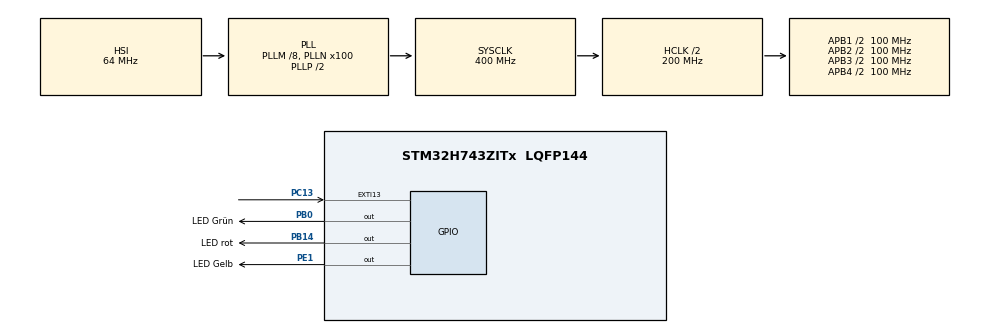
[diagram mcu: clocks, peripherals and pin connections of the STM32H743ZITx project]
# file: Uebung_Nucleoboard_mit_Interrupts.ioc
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Mcu.Family=STM32H7
Mcu.Name=STM32H743ZITx
Mcu.Package=LQFP144
NVIC.EXTI15_10_IRQn=true\:0\:0\:false\:false\:true\:true\:true
NVIC.PriorityGroup=NVIC_PRIORITYGROUP_4
PB0.GPIO_Label=LED Gr\u00FCn
PB0.Signal=GPIO_Output
PB14.GPIO_Label=LED rot
PB14.Signal=GPIO_Output
PC13.GPIO_ModeDefaultEXTI=GPIO_MODE_IT_RISING_FALLING
PC13.Signal=GPXTI13
PE1.GPIO_Label=LED Gelb
PE1.Signal=GPIO_Output
ProjectManager.HeapSize=0x200
ProjectManager.StackSize=0x400
ProjectManager.TargetToolchain=MDK-ARM V5.27
RCC.ADCFreq_Value=129000000
RCC.APB1Freq_Value=100000000
RCC.APB2Freq_Value=100000000
RCC.APB3Freq_Value=100000000
RCC.APB4Freq_Value=100000000
RCC.CortexFreq_Value=400000000
RCC.D1PPRE=RCC_APB3_DIV2
RCC.D2PPRE1=RCC_APB1_DIV2
RCC.D2PPRE2=RCC_APB2_DIV2
RCC.D3PPRE=RCC_APB4_DIV2
RCC.DIVM1=8
RCC.DIVN1=100
RCC.HCLKFreq_Value=200000000
RCC.HPRE=RCC_HCLK_DIV2
RCC.SYSCLKFreq_VALUE=400000000
RCC.SYSCLKSource=RCC_SYSCLKSOURCE_PLLCLK
RCC.USBFreq_Value=400000000
board=custom

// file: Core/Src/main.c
/* USER CODE BEGIN Header */
/**
  ******************************************************************************
  * @file           : main.c
  * @brief          : Main program body
  ******************************************************************************
  * @attention
  *
  * <h2><center>&copy; Copyright (c) 2021 STMicroelectronics.
  * All rights reserved.</center></h2>
  *
  * This software component is licensed by ST under BSD 3-Clause license,
  * the "License"; You may not use this file except in compliance with the
  * License. You may obtain a copy of the License at:
  *                        opensource.org/licenses/BSD-3-Clause
  *
  ******************************************************************************
  */
/* USER CODE END Header */
#include "main.h"
#include "gpio.h"

/* USER CODE BEGIN PV */
uint8_t buttonpressed = 0;
uint8_t toggler = 0;
uint16_t counter =0;
/* USER CODE END PV */

void SystemClock_Config(void);

int main(void)
{

  /* MCU Configuration--------------------------------------------------------*/

  /* Reset of all peripherals, Initializes the Flash interface and the Systick. */
  HAL_Init();

  /* Configure the system clock */
  SystemClock_Config();

  /* Initialize all configured peripherals */
  MX_GPIO_Init();

  /* Infinite loop */
  /* USER CODE BEGIN WHILE */
  while (1)
  {
		//Gelbe LED
		if(buttonpressed)
		{
				HAL_GPIO_WritePin(GPIOB, LED_Gelb_Pin, GPIO_PIN_SET);
		}
		else
		{
			HAL_GPIO_WritePin(GPIOB, LED_Gelb_Pin, GPIO_PIN_RESET);
		}

		//Rote LED
		if(toggler)
		{
			HAL_GPIO_WritePin(LED_rot_GPIO_Port, LED_rot_Pin, GPIO_PIN_SET); // ein #define überschreibt in main.h die Standarsbezeichner GPIOB und GPIO_PIN_14
		}
		else
		{
			HAL_GPIO_WritePin(LED_rot_GPIO_Port, LED_rot_Pin, GPIO_PIN_RESET);
		}

		/* USER CODE END WHILE */
  }
}

void SystemClock_Config(void)
{
  RCC_OscInitTypeDef RCC_OscInitStruct = {0};
  RCC_ClkInitTypeDef RCC_ClkInitStruct = {0};

  /** Supply configuration update enable
  */
  HAL_PWREx_ConfigSupply(PWR_LDO_SUPPLY);
  /** Configure the main internal regulator output voltage
  */
  __HAL_PWR_VOLTAGESCALING_CONFIG(PWR_REGULATOR_VOLTAGE_SCALE1);

  while(!__HAL_PWR_GET_FLAG(PWR_FLAG_VOSRDY)) {}
  /** Initializes the RCC Oscillators according to the specified parameters
  * in the RCC_OscInitTypeDef structure.
  */
  RCC_OscInitStruct.OscillatorType = RCC_OSCILLATORTYPE_HSI;
  RCC_OscInitStruct.HSIState = RCC_HSI_DIV1;
  RCC_OscInitStruct.HSICalibrationValue = RCC_HSICALIBRATION_DEFAULT;
  RCC_OscInitStruct.PLL.PLLState = RCC_PLL_ON;
  RCC_OscInitStruct.PLL.PLLSource = RCC_PLLSOURCE_HSI;
  RCC_OscInitStruct.PLL.PLLM = 8;
  RCC_OscInitStruct.PLL.PLLN = 100;
  RCC_OscInitStruct.PLL.PLLP = 2;
  RCC_OscInitStruct.PLL.PLLQ = 2;
  RCC_OscInitStruct.PLL.PLLR = 2;
  RCC_OscInitStruct.PLL.PLLRGE = RCC_PLL1VCIRANGE_3;
  RCC_OscInitStruct.PLL.PLLVCOSEL = RCC_PLL1VCOWIDE;
  RCC_OscInitStruct.PLL.PLLFRACN = 0;
  if (HAL_RCC_OscConfig(&RCC_OscInitStruct) != HAL_OK)
  {
    Error_Handler();
  }
  /** Initializes the CPU, AHB and APB buses clocks
  */
  RCC_ClkInitStruct.ClockType = RCC_CLOCKTYPE_HCLK|RCC_CLOCKTYPE_SYSCLK
                              |RCC_CLOCKTYPE_PCLK1|RCC_CLOCKTYPE_PCLK2
                              |RCC_CLOCKTYPE_D3PCLK1|RCC_CLOCKTYPE_D1PCLK1;
  RCC_ClkInitStruct.SYSCLKSource = RCC_SYSCLKSOURCE_PLLCLK;
  RCC_ClkInitStruct.SYSCLKDivider = RCC_SYSCLK_DIV1;
  RCC_ClkInitStruct.AHBCLKDivider = RCC_HCLK_DIV2;
  RCC_ClkInitStruct.APB3CLKDivider = RCC_APB3_DIV2;
  RCC_ClkInitStruct.APB1CLKDivider = RCC_APB1_DIV2;
  RCC_ClkInitStruct.APB2CLKDivider = RCC_APB2_DIV2;
  RCC_ClkInitStruct.APB4CLKDivider = RCC_APB4_DIV2;

  if (HAL_RCC_ClockConfig(&RCC_ClkInitStruct, FLASH_LATENCY_2) != HAL_OK)
  {
    Error_Handler();
  }
}

/* USER CODE BEGIN 4 */
void HAL_GPIO_EXTI_Callback(uint16_t GPIO_Pin)
{
		//Interrupt Button
		if(GPIO_Pin != GPIO_PIN_13)
		{
			return;
		}

		if(HAL_GPIO_ReadPin(GPIOC, GPIO_Pin) == GPIO_PIN_SET)
		{
			buttonpressed = 1;
		}
		else
		{
			buttonpressed = 0;
			toggler = !toggler;
		}
}

void HAL_SYSTICK_Callback()
{
		// toggle alle 500 ms sonst blinkt Licht alle 2 s
		if(counter >= 500)
		{
			HAL_GPIO_TogglePin(LED_Gruen_GPIO_Port, LED_Gruen_Pin);
			counter =0;
		}
		counter ++;
}
/* USER CODE END 4 */

void Error_Handler(void)
{
  __disable_irq();
  while (1)
  {
  }
}

/************************ (C) COPYRIGHT STMicroelectronics *****END OF FILE****/
